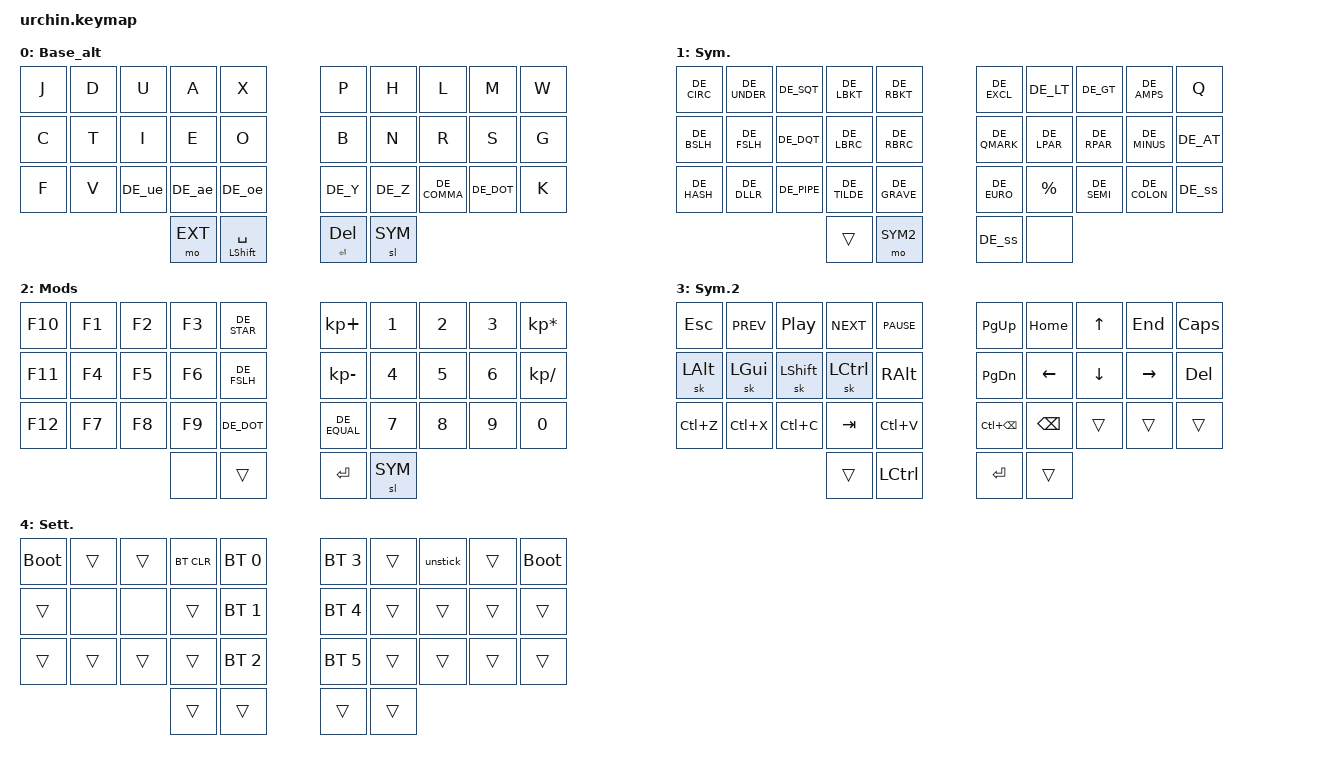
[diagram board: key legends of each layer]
/*
 * Copyright (c) 2020 duckyb
 *
 * SPDX-License-Identifier: MIT
 */

 #include <behaviors.dtsi>
 #include <dt-bindings/zmk/keys.h>
 #include <dt-bindings/zmk/bt.h>
 #include <dt-bindings/zmk/outputs.h>
 #include "keymap_italian.h"
 
 // Layer definitions
 #define BASE 0
 #define SYM 1
 #define EXT 2
 #define SYM2 3
 #define SETTINGS 4
 #define BASE_ALT 5
 // -----------------
 
 &sk {
	 // don't release mods on other mods presses
	 ignore-modifiers;
 };

 
 
 / {
	 behaviors {
		ml: home-row-mods-left {
			compatible = "zmk,behavior-hold-tap";
			bindings = <&kp>, <&kp>;
			#binding-cells = <2>;
			tapping-term-ms = <280>;
			quick-tap-ms = <200>;
			require-prior-idle-ms = <175>;
			flavor = "balanced";
			hold-trigger-key-positions = <30 31 32 33 5 6 7 8 9 15 16 17 18 19 25 26 27 28 29>;
			hold-trigger-on-release;
		};
        mr: home-row-mods-right {
			compatible = "zmk,behavior-hold-tap";
			bindings = <&kp>, <&kp>;
			#binding-cells = <2>;
			tapping-term-ms = <280>;
			quick-tap-ms = <200>;
			require-prior-idle-ms = <175>;
			flavor = "balanced";
			hold-trigger-key-positions = <30 31 32 33 0 1 2 3 4 10 11 12 13 14 20 21 22 23 24>;
			hold-trigger-on-release;
		};
		 // Enables holding the first mod-tap key
		 // by performing a tap-release-hold sequence.
		 // To use it: "&qt KEYCODE1 KEYCODE2"
		 qt: quick_tap {
			 compatible = "zmk,behavior-hold-tap";
			 label = "QUICK_TAP";
			 #binding-cells = <2>;
			 flavor = "hold-preferred";
			 tapping-term-ms = <200>;
			 quick-tap-ms = <200>;
			 bindings = <&kp>, <&kp>;
		 };
	 };
	 
	 macros {
		 // sometimes my device thinks a modifier is being held down
		 // pressing all modifiers fixes it.
		 unstick: unstick {
			 label = "ZM_unstick";
			 compatible = "zmk,behavior-macro";
			 #binding-cells = <0>;
			 bindings = <&kp LSHIFT &kp RSHIFT &kp LCTRL &kp RCTRL &kp LALT &kp RALT &kp LGUI &kp RGUI>;
		 };
	 };
 
	 combos {
		 compatible = "zmk,combos";
		 // both left thumb keys
		 combo_settings {
			 timeout-ms = <200>;
			 key-positions = <30 31>;
			 bindings = <&mo SETTINGS>;
		 };
		 // left index & middle fingers (home-row)
		 // hold control & space for Adobe workflow
		 combo_ctrl_space {
			 timeout-ms = <200>;
			 key-positions = <12 13>;
			 bindings = <&kp LC(SPACE)>;
			 layers = <BASE>;
		 };
	 };
	 keymap {
		 compatible = "zmk,keymap";
		 // Base alpha layer
		 default_layer {
			 label = "Base";
			 bindings = <
			 &kp J        &kp D       &kp U        &kp A       &kp X                &kp P        &kp H       &kp L        &kp M       &kp W 
			 &ml LCTRL C  &ml LALT T  &ml LSHFT I  &ml LGUI E  &ml HYPER O          &mr HYPER B  &mr RGUI N  &mr RSHFT R  &mr RALT S  &mr RCTRL G
			 &kp F        &kp V       &kp DE_ue    &kp DE_ae   &kp DE_oe            &kp DE_Y     &kp DE_Z    &kp DE_COMMA &kp DE_DOT  &kp K
				                                  &mo EXT &qt LSHIFT SPACE 		    &qt ENTER DEL &sl SYM
			 >;
		 };
 
		 // Layer 3 bone
		 sym_layer {
			 label = "Sym.";
			 bindings = <
				&kp DE_CIRC	&kp DE_UNDER &kp DE_SQT  &kp DE_LBKT  &kp DE_RBKT       &kp DE_EXCL   &kp DE_LT   &kp DE_GT   &kp DE_AMPS  &kp Q
				&kp DE_BSLH &kp DE_FSLH  &kp DE_DQT  &kp DE_LBRC  &kp DE_RBRC 		&kp DE_QMARK  &kp DE_LPAR &kp DE_RPAR &kp DE_MINUS &kp DE_AT
				&kp DE_HASH &kp DE_DLLR  &kp DE_PIPE &kp DE_TILDE &kp DE_GRAVE		&kp DE_EURO   &kp PERCENT &kp DE_SEMI &kp DE_COLON &kp DE_ss
																&trans &mo SYM2    		&kp DE_ss &none
				>;
		 };
 
		 // Zahlenblock und F
		 ext_layer {
			 label = "Mods";
			 bindings = <
			 &kp F10 &kp F1 &kp F2 &kp F3  &kp DE_STAR   	&kp KP_PLUS  &kp N1 &kp N2 &kp N3 &kp KP_MULTIPLY
			 &kp F11 &kp F4 &kp F5 &kp F6  &kp DE_FSLH 		&kp KP_MINUS &kp N4 &kp N5 &kp N6 &kp KP_DIVIDE
			 &kp F12 &kp F7 &kp F8 &kp F9  &kp DE_DOT		&kp DE_EQUAL &kp N7 &kp N8 &kp N9 &kp N0
					 			    &none &trans			&kp ENTER &sl SYM 
			 >;
		 };
 
		 // Main modifiers and arrow keys
		 symbols_2_layer {
			 label = "Sym.2";
			 bindings = <
			 &kp ESC    &kp C_PREV &kp C_PP   &kp C_NEXT &kp C_PAUSE    	&kp PG_UP    &kp HOME &kp UP   &kp END   &kp CAPS
			 &sk LALT   &sk LGUI   &sk LSHIFT &sk LCTRL  &kp RALT 			&kp PG_DN    &kp LEFT &kp DOWN &kp RIGHT &kp DEL
			 &kp LC(Z)  &kp LC(X)  &kp LC(C)  &kp TAB    &kp LC(V)          &kp LC(BSPC) &kp BSPC &trans   &trans    &trans
								                &trans &kp LCTRL    		&kp ENTER  &trans 
			 >;
		 };
 
		 // Used to change the keyboard's settings.
		 settings_layer {
				 label = "Sett.";
				 bindings = <
				 &bootloader &trans &trans &bt BT_CLR &bt BT_SEL 0		&bt BT_SEL 3 &trans &unstick &trans &bootloader 
				 &trans 	 &none  &none  &trans     &bt BT_SEL 1 		&bt BT_SEL 4 &trans &trans   &trans &trans
				 &trans      &trans &trans &trans     &bt BT_SEL 2      &bt BT_SEL 5 &trans &trans   &trans &trans
								 &trans &trans                   &trans &trans 
			 >;
		 };
		// Base alpha layer alt
		 default_layer {
			 label = "Base_alt";
			 bindings = <
			 &kp J &kp D &kp U     &kp A     &kp X            &kp P    &kp H     &kp L        &kp M      &kp W 
			 &kp C &kp T &kp I     &kp E     &kp O            &kp B    &kp N     &kp R        &kp S      &kp G
			 &kp F &kp V &kp DE_ue &kp DE_ae &kp DE_oe        &kp DE_Y &kp DE_Z  &kp DE_COMMA &kp DE_DOT &kp K
				  	        &mo EXT &qt LSHIFT SPACE 		 &qt ENTER DEL &sl SYM
			 >;
		 };
	 };
 };
